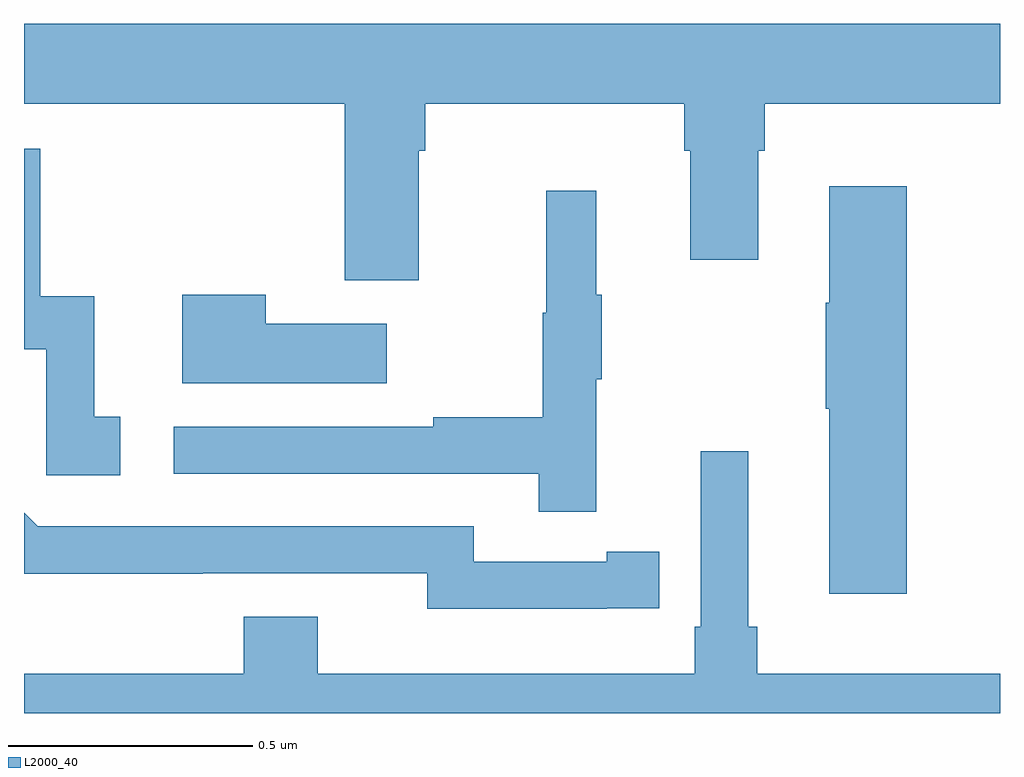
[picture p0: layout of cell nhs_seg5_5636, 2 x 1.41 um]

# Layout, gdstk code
import gdstk
lib = gdstk.Library(unit=1e-6, precision=1e-09)
def P(c, l, *ps):  # polygons
    for p in ps: c.add(gdstk.Polygon(p, *l))
L2000_40 = (2000, 40)

nhs_seg5_5636 = lib.new_cell('nhs_seg5_5636')
P(nhs_seg5_5636, L2000_40, [(185.809,901.952),(185.822,901.952),(185.822,902.048),(186.353,902.048),(186.353,901.952),(186.365,901.952),(186.365,901.728),(186.505,901.728),(186.505,901.952),(186.518,901.952),(186.518,902.048),(187,902.048),(187,902.212),(185,902.212),(185,902.048),(185.657,902.048),(185.657,901.686),(185.809,901.686)],
  [(185.197,901.407),(185.144,901.407),(185.144,901.654),(185.033,901.654),(185.033,901.956),(185,901.956),(185,901.545),(185.046,901.545),(185.046,901.287),(185.197,901.287)],
  [(186.809,901.879),(186.65,901.879),(186.65,901.64),(186.643,901.64),(186.643,901.423),(186.65,901.423),(186.65,901.044),(186.809,901.044)],
  [(186.173,901.483),(186.184,901.483),(186.184,901.657),(186.173,901.657),(186.173,901.87),(186.07,901.87),(186.07,901.62),(186.063,901.62),(186.063,901.406),(185.839,901.406),(185.839,901.386),(185.307,901.386),(185.307,901.29),(186.055,901.29),(186.055,901.212),(186.173,901.212)],
  [(185.743,901.597),(185.495,901.597),(185.495,901.657),(185.324,901.657),(185.324,901.475),(185.743,901.475)],
  [(187,900.88),(186.503,900.88),(186.503,900.976),(186.484,900.976),(186.484,901.336),(186.387,901.336),(186.387,900.976),(186.374,900.976),(186.374,900.88),(185.602,900.88),(185.602,900.997),(185.45,900.997),(185.45,900.88),(185,900.88),(185,900.799),(187,900.799)],
  [(186.194,901.014),(186.302,901.014),(186.302,901.13),(186.194,901.13),(186.194,901.11),(185.922,901.11),(185.922,901.182),(185.028,901.182),(185,901.21),(185,901.085),(185.366,901.085),(185.366,901.086),(185.826,901.086),(185.826,901.013),(186.194,901.013)])

lib.write_gds('nhs_seg5_5636.gds')
